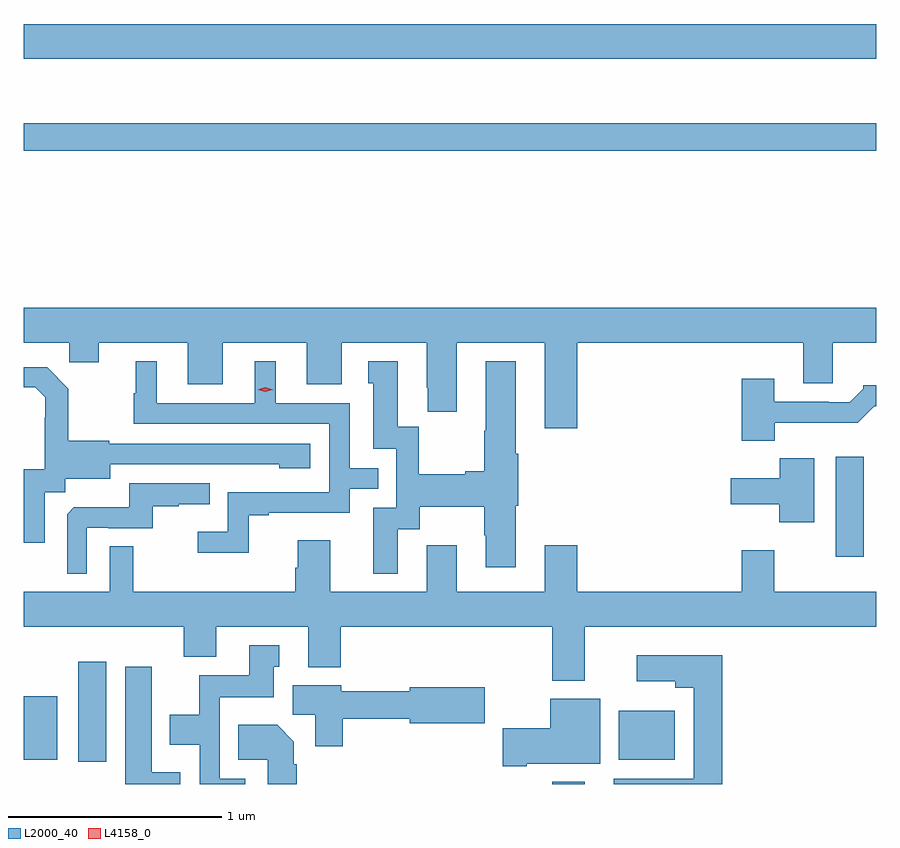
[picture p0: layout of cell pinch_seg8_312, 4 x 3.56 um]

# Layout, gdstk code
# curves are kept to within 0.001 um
import gdstk
lib = gdstk.Library(unit=1e-6, precision=1e-09)
def R(c, l, rs):  # rectangles x0, y0, x1, y1
    for r in rs: c.add(gdstk.rectangle(r[:2], r[2:], *l))
def P(c, l, *ps):  # polygons
    for p in ps: c.add(gdstk.Polygon(p, *l))
L2000_40 = (2000, 40)
L4158_0 = (4158, 0)

pinch_seg8_312 = lib.new_cell('pinch_seg8_312')
R(pinch_seg8_312, L2000_40, [(599.819,1141.071,599.971,1141.081), (597.596,1141.176,597.727,1141.645), (597.339,1141.184,597.496,1141.483), (600.131,1141.184,600.394,1141.414), (601.148,1142.136,601.279,1142.605), (597.339,1144.042,601.339,1144.171), (597.339,1144.472,601.339,1144.636)])
P(pinch_seg8_312, L2000_40, [(599.936,1143.14),(600.995,1143.14),(600.995,1142.95),(601.135,1142.95),(601.135,1143.14),(601.339,1143.14),(601.339,1143.304),(597.339,1143.304),(597.339,1143.14),(597.553,1143.14),(597.553,1143.05),(597.691,1143.05),(597.691,1143.14),(598.109,1143.14),(598.109,1142.946),(598.273,1142.946),(598.273,1143.14),(598.667,1143.14),(598.667,1142.946),(598.831,1142.946),(598.831,1143.14),(599.231,1143.14),(599.231,1142.929),(599.234,1142.929),(599.234,1142.817),(599.371,1142.817),(599.371,1143.14),(599.783,1143.14),(599.783,1142.739),(599.936,1142.739)],
  [(598.395,1142.331),(598.489,1142.331),(598.489,1142.343),(598.869,1142.343),(598.869,1142.457),(599.003,1142.457),(599.003,1142.553),(598.869,1142.553),(598.869,1142.856),(598.522,1142.856),(598.522,1143.055),(598.424,1143.055),(598.424,1142.856),(597.964,1142.856),(597.964,1143.055),(597.866,1143.055),(597.866,1142.904),(597.855,1142.904),(597.855,1142.76),(598.773,1142.76),(598.773,1142.439),(598.296,1142.439),(598.296,1142.254),(598.155,1142.254),(598.155,1142.156),(598.395,1142.156)],
  [(599.095,1142.266),(599.197,1142.266),(599.197,1142.372),(599.5,1142.372),(599.5,1142.238),(599.507,1142.238),(599.507,1142.088),(599.647,1142.088),(599.647,1142.376),(599.66,1142.376),(599.66,1142.62),(599.647,1142.62),(599.647,1143.055),(599.507,1143.055),(599.507,1142.729),(599.5,1142.729),(599.5,1142.537),(599.411,1142.537),(599.411,1142.524),(599.193,1142.524),(599.193,1142.747),(599.095,1142.747),(599.095,1143.055),(598.955,1143.055),(598.955,1142.952),(598.979,1142.952),(598.979,1142.643),(599.088,1142.643),(599.088,1142.367),(598.979,1142.367),(598.979,1142.058),(599.095,1142.058)],
  [(597.439,1142.44),(597.534,1142.44),(597.534,1142.504),(597.745,1142.504),(597.745,1142.571),(598.539,1142.57),(598.539,1142.552),(598.684,1142.552),(598.684,1142.667),(597.741,1142.667),(597.741,1142.68),(597.549,1142.68),(597.549,1142.925),(597.449,1143.025),(597.339,1143.025),(597.339,1142.931),(597.393,1142.931),(597.44,1142.884),(597.44,1142.789),(597.438,1142.789),(597.438,1142.548),(597.339,1142.548),(597.339,1142.202),(597.439,1142.202)],
  [(600.862,1142.766),(601.251,1142.766),(601.329,1142.844),(601.339,1142.844),(601.339,1142.941),(601.278,1142.941),(601.278,1142.926),(601.214,1142.862),(601.115,1142.862),(601.115,1142.865),(600.859,1142.865),(600.859,1142.971),(600.707,1142.971),(600.707,1142.681),(600.862,1142.681)],
  [(601.048,1142.599),(600.886,1142.599),(600.886,1142.506),(600.657,1142.506),(600.657,1142.384),(600.884,1142.384),(600.884,1142.298),(601.048,1142.298)],
  [(597.636,1142.274),(597.736,1142.274),(597.736,1142.271),(597.944,1142.271),(597.944,1142.373),(598.067,1142.373),(598.067,1142.384),(598.211,1142.384),(598.211,1142.481),(597.834,1142.481),(597.834,1142.369),(597.575,1142.369),(597.543,1142.337),(597.543,1142.057),(597.636,1142.057)],
  [(599.971,1141.808),(601.339,1141.808),(601.339,1141.972),(600.859,1141.972),(600.859,1142.167),(600.707,1142.167),(600.707,1141.972),(599.936,1141.972),(599.936,1142.191),(599.783,1142.191),(599.783,1141.972),(599.371,1141.972),(599.371,1142.191),(599.231,1142.191),(599.231,1141.972),(598.777,1141.972),(598.777,1142.215),(598.625,1142.215),(598.625,1142.085),(598.613,1142.085),(598.613,1141.972),(597.853,1141.972),(597.853,1142.186),(597.744,1142.186),(597.744,1141.972),(597.339,1141.972),(597.339,1141.808),(598.091,1141.808),(598.091,1141.667),(598.243,1141.667),(598.243,1141.808),(598.673,1141.808),(598.673,1141.619),(598.826,1141.619),(598.826,1141.808),(599.819,1141.808),(599.819,1141.556),(599.971,1141.556)],
  [(598.378,1141.095),(598.26,1141.095),(598.26,1141.478),(598.513,1141.478),(598.513,1141.62),(598.537,1141.62),(598.537,1141.723),(598.397,1141.723),(598.397,1141.582),(598.162,1141.582),(598.162,1141.396),(598.025,1141.396),(598.025,1141.256),(598.164,1141.256),(598.164,1141.071),(598.378,1141.071)],
  [(600.617,1141.675),(600.216,1141.675),(600.216,1141.553),(600.395,1141.553),(600.395,1141.523),(600.482,1141.523),(600.482,1141.096),(600.107,1141.096),(600.107,1141.071),(600.617,1141.071)],
  [(598.074,1141.126),(597.94,1141.126),(597.94,1141.621),(597.815,1141.621),(597.815,1141.071),(598.074,1141.071)],
  [(598.836,1141.378),(599.15,1141.378),(599.15,1141.355),(599.503,1141.355),(599.503,1141.525),(599.15,1141.525),(599.15,1141.507),(598.828,1141.507),(598.828,1141.534),(598.601,1141.534),(598.601,1141.396),(598.706,1141.396),(598.706,1141.248),(598.836,1141.248)],
  [(599.698,1141.166),(600.043,1141.166),(600.043,1141.471),(599.81,1141.471),(599.81,1141.332),(599.586,1141.332),(599.586,1141.154),(599.698,1141.154)],
  [(598.619,1141.163),(598.606,1141.163),(598.606,1141.27),(598.528,1141.348),(598.345,1141.348),(598.345,1141.184),(598.484,1141.184),(598.484,1141.071),(598.619,1141.071)])
P(pinch_seg8_312, L4158_0, [(598.473,1142.911),(598.437,1142.921),(598.437,1142.921),(598.437,1142.921),(598.473,1142.931),(598.508,1142.921),(598.509,1142.921),(598.508,1142.921)])

lib.write_gds('pinch_seg8_312.gds')
